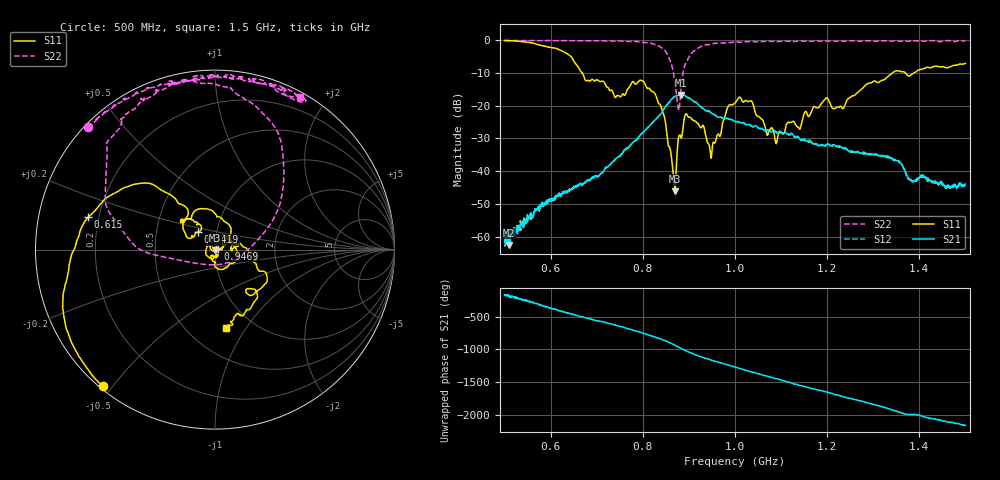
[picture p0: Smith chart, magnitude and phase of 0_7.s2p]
!Agilent Technologies,E8364B,US42250235,A.06.04.32
!Agilent E8364B: A.06.04.32
!Date: Friday, January 15, 2021 16:15:44
!Correction: S11(Full 2 Port(1,2)) S21(Full 2 Port(1,2)) S12(Full 2 Port(1,2)) S22(Full 2 Port(1,2))
!S2P File: Measurements: S11, S21, S12, S22:
# Hz S  dB  R 50
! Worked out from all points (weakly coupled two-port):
!   1601 points, 500 MHz to 1.5 GHz, reference 50 ohm
!   highest |S21| = -16.77 dB at 882.5 MHz (marker M1); lowest = -62.5 dB at 509.4 MHz (marker M2)
!   lowest |S11| = -46.1 dB at 870 MHz (marker M3), VSWR 1.01, Z = 49.8 - j0.439 ohm
!   |S11| at or under -10 dB: 668.5 MHz to 1.342 GHz (673.8 MHz wide, 67 % of centre); 1.369 GHz to 1.389 GHz (19.19 MHz wide, 1.39 % of centre)
!   |S22| runs from -21.4 to -0.1 dB; largest |S21 - S12| = 0.0066
!   S11 on the Smith chart (normalised r, x): 500 MHz: 0.01, -0.47; 615 MHz: 0.16, +0.12; 741.9 MHz: 0.81, +0.16; 946.9 MHz: 1.03, +0.01; 1.5 GHz: 0.75, -0.81
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5e8  -0.13 -129.4  -60.55 -165.1  -60.03 -174.0  -0.16 136.0
5.09375e8  -0.17 -133.3  -62.49 173.7  -62.34 164.9  -0.18 134.2
5.5875e8  -0.86 -159.7  -53.32 82.9  -53.65 76.7  -0.16 128.9
6.15e8  -2.73 165.7  -47.39 -40.4  -47.32 -42.2  -0.19 123.8
6.66875e8  -9.74 128.2  -43.89 -145.4  -43.89 -145.9  -0.20 116.3
7.41875e8  -17.29 133.5  -36.08 86.8  -36.13 85.2  -0.31 104.6
7.9625e8  -12.27 111.7  -28.72 -21.9  -28.72 -24.2  -0.62 93.1
8.3375e8  -19.22 42.5  -23.32 -108.3  -23.32 -110.2  -1.78 71.9
8.5625e8  -32.47 13.9  -19.11 -169.1  -19.23 -171.2  -5.26 45.4
8.7e8  -46.08 -117.4  -17.14 143.5  -17.19 141.8  -13.36 7.4
8.76875e8  -30.24 154.5  -16.83 118.2  -16.89 116.7  -21.03 -66.4
8.825e8  -29.83 129.6  -16.77 98.6  -16.83 97.2  -15.59 -155.6
8.975e8  -23.29 94.5  -17.56 47.7  -17.44 46.1  -5.83 170.0
9.30625e8  -26.02 28.4  -20.75 -42.8  -21.05 -43.9  -1.71 137.0
9.46875e8  -34.84 19.2  -22.05 -79.4  -22.04 -80.0  -1.35 129.9
1e9  -19.20 8.7  -24.86 172.1  -24.79 170.5  -0.60 115.2
1.035e9  -18.55 -68.3  -26.11 99.8  -26.25 98.8  -0.49 110.0
1.09e9  -31.48 -67.3  -28.29 -5.5  -28.02 -7.5  -0.44 101.3
1.166875e9  -21.46 69.5  -31.30 -155.9  -31.33 -156.1  -0.35 91.1
1.33375e9  -10.94 -25.0  -35.61 -102.1  -35.85 -102.9  -0.37 76.5
1.38375e9  -10.46 -46.9  -43.10 171.7  -42.99 169.7  -0.24 70.8
1.5e9  -7.14 -82.2  -43.93 3.9  -44.16 3.7  -0.25 60.7
